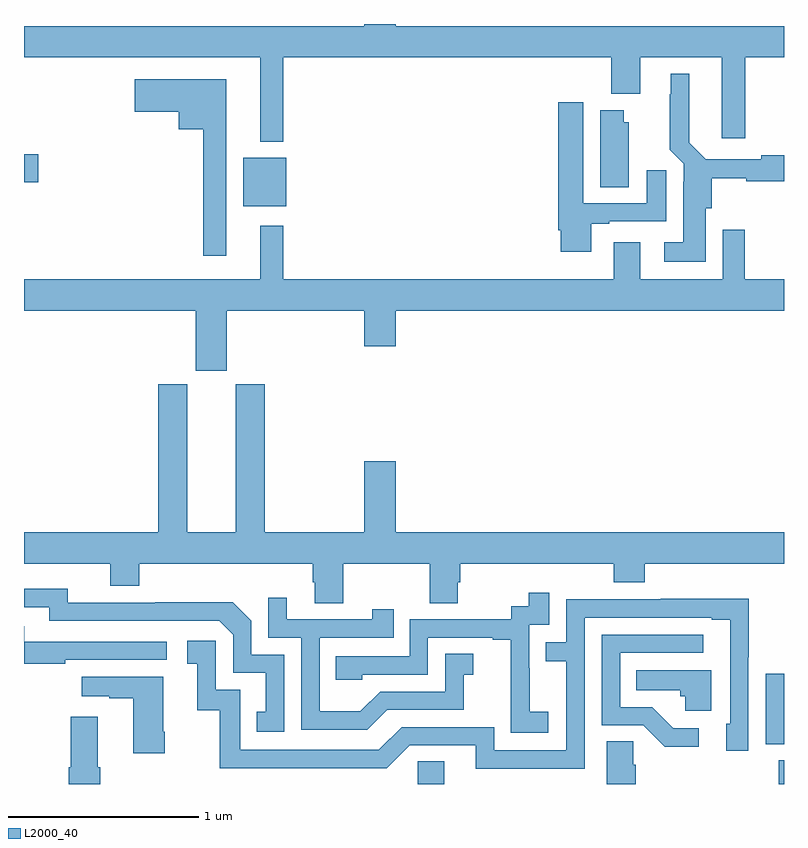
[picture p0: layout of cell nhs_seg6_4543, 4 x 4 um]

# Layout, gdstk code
import gdstk
lib = gdstk.Library(unit=1e-6, precision=1e-09)
def R(c, l, rs):  # rectangles x0, y0, x1, y1
    for r in rs: c.add(gdstk.rectangle(r[:2], r[2:], *l))
def P(c, l, *ps):  # polygons
    for p in ps: c.add(gdstk.Polygon(p, *l))
L2000_40 = (2000, 40)

nhs_seg6_4543 = lib.new_cell('nhs_seg6_4543')
R(nhs_seg6_4543, L2000_40, [(381.072,955.5,381.211,955.619), (382.973,955.5,383,955.625), (382.905,955.71,383,956.08), (380.153,958.541,380.38,958.795), (379,958.667,379.075,958.814)])
P(nhs_seg6_4543, L2000_40, [(380.365,959.324),(382.091,959.324),(382.091,959.132),(382.243,959.132),(382.243,959.324),(382.673,959.324),(382.673,958.899),(382.796,958.899),(382.796,959.324),(383,959.324),(383,959.488),(380.956,959.488),(380.956,959.5),(380.792,959.5),(380.792,959.488),(379,959.488),(379,959.324),(380.243,959.324),(380.243,958.88),(380.365,958.88)],
  [(382.588,958.53),(382.619,958.53),(382.619,958.687),(382.802,958.687),(382.802,958.672),(383,958.672),(383,958.808),(382.879,958.808),(382.879,958.788),(382.588,958.788),(382.501,958.876),(382.501,959.239),(382.403,959.239),(382.403,959.129),(382.399,959.129),(382.399,958.838),(382.473,958.764),(382.473,958.67),(382.469,958.67),(382.469,958.351),(382.371,958.351),(382.371,958.25),(382.588,958.25)],
  [(380.065,959.209),(379.584,959.209),(379.584,959.039),(379.814,959.039),(379.814,958.946),(379.944,958.946),(379.944,958.281),(380.065,958.281)],
  [(381.985,958.449),(382.081,958.449),(382.081,958.461),(382.381,958.461),(382.381,958.729),(382.277,958.729),(382.277,958.557),(381.943,958.557),(381.943,959.089),(381.812,959.089),(381.812,958.414),(381.824,958.414),(381.824,958.302),(381.985,958.302)],
  [(382.183,958.983),(382.156,958.983),(382.156,959.047),(382.034,959.047),(382.034,958.642),(382.183,958.642)],
  [(380.068,957.992),(380.792,957.992),(380.792,957.804),(380.956,957.804),(380.956,957.992),(383,957.992),(383,958.156),(382.793,958.156),(382.793,958.417),(382.677,958.417),(382.677,958.156),(382.243,958.156),(382.243,958.351),(382.103,958.351),(382.103,958.156),(380.365,958.156),(380.365,958.438),(380.243,958.438),(380.243,958.156),(379,958.156),(379,957.992),(379.904,957.992),(379.904,957.675),(380.068,957.675)],
  [(380.679,956.66),(381.136,956.66),(381.136,956.452),(381.283,956.452),(381.283,956.562),(381.296,956.562),(381.296,956.66),(382.103,956.66),(382.103,956.561),(382.268,956.561),(382.268,956.66),(383,956.66),(383,956.824),(380.956,956.824),(380.956,957.199),(380.792,957.199),(380.792,956.824),(380.267,956.824),(380.267,957.603),(380.114,957.603),(380.114,956.824),(379.858,956.824),(379.858,957.603),(379.706,957.603),(379.706,956.824),(379,956.824),(379,956.66),(379.454,956.66),(379.454,956.543),(379.607,956.543),(379.607,956.66),(380.519,956.66),(380.519,956.562),(380.531,956.562),(380.531,956.452),(380.679,956.452)],
  [(380.37,956.181),(380.196,956.181),(380.196,956.358),(380.098,956.456),(379.69,956.456),(379.69,956.454),(379.23,956.454),(379.23,956.527),(379,956.527),(379,956.43),(379.134,956.43),(379.134,956.358),(380.028,956.358),(380.1,956.286),(380.1,956.085),(380.273,956.085),(380.273,955.881),(380.224,955.881),(380.224,955.776),(380.37,955.776)],
  [(381.76,955.879),(381.662,955.879),(381.662,956.108),(381.66,956.108),(381.66,956.337),(381.765,956.337),(381.765,956.506),(381.657,956.506),(381.657,956.436),(381.564,956.436),(381.564,956.367),(381.03,956.367),(381.03,956.172),(380.641,956.172),(380.641,956.049),(380.781,956.049),(380.781,956.076),(381.126,956.076),(381.126,956.271),(381.467,956.271),(381.467,956.259),(381.563,956.259),(381.563,955.975),(381.562,955.975),(381.562,955.769),(381.76,955.769)],
  [(380.911,955.89),(381.315,955.89),(381.315,956.075),(381.364,956.075),(381.364,956.185),(381.216,956.185),(381.216,955.986),(380.874,955.986),(380.77,955.882),(380.556,955.882),(380.556,956.271),(380.945,956.271),(380.945,956.419),(380.834,956.419),(380.834,956.367),(380.383,956.367),(380.383,956.479),(380.286,956.479),(380.286,956.271),(380.46,956.271),(380.46,955.785),(380.806,955.785)],
  [(381.951,956.376),(382.619,956.376),(382.619,956.364),(382.716,956.364),(382.716,955.818),(382.697,955.818),(382.697,955.674),(382.812,955.674),(382.812,956.167),(382.815,956.167),(382.815,956.474),(382.351,956.474),(382.351,956.472),(381.855,956.472),(381.855,956.247),(381.745,956.247),(381.745,956.146),(381.855,956.146),(381.855,955.677),(381.474,955.677),(381.474,955.8),(380.988,955.8),(380.868,955.68),(380.139,955.68),(380.139,955.995),(380.01,955.995),(380.01,956.254),(379.86,956.254),(379.86,956.133),(379.913,956.133),(379.913,955.887),(380.031,955.887),(380.031,955.584),(380.91,955.584),(381.03,955.704),(381.377,955.704),(381.377,955.581),(381.951,955.581)],
  [(379.217,956.154),(379.75,956.154),(379.75,956.25),(379.001,956.25),(379.001,956.329),(379,956.329),(379,956.134),(379.217,956.134)],
  [(382.552,955.794),(382.417,955.794),(382.306,955.905),(382.137,955.905),(382.137,956.19),(382.576,956.19),(382.576,956.286),(382.041,956.286),(382.041,955.809),(382.26,955.809),(382.373,955.697),(382.552,955.697)],
  [(382.618,956.098),(382.222,956.098),(382.222,955.994),(382.453,955.994),(382.453,955.962),(382.479,955.962),(382.479,955.886),(382.618,955.886)],
  [(379.74,955.774),(379.732,955.774),(379.732,956.065),(379.305,956.065),(379.305,955.961),(379.448,955.961),(379.448,955.951),(379.574,955.951),(379.574,955.662),(379.74,955.662)],
  [(379.4,955.588),(379.387,955.588),(379.387,955.855),(379.247,955.855),(379.247,955.588),(379.235,955.588),(379.235,955.5),(379.4,955.5)],
  [(382.22,955.601),(382.206,955.601),(382.206,955.724),(382.067,955.724),(382.067,955.5),(382.22,955.5)])

lib.write_gds('nhs_seg6_4543.gds')
